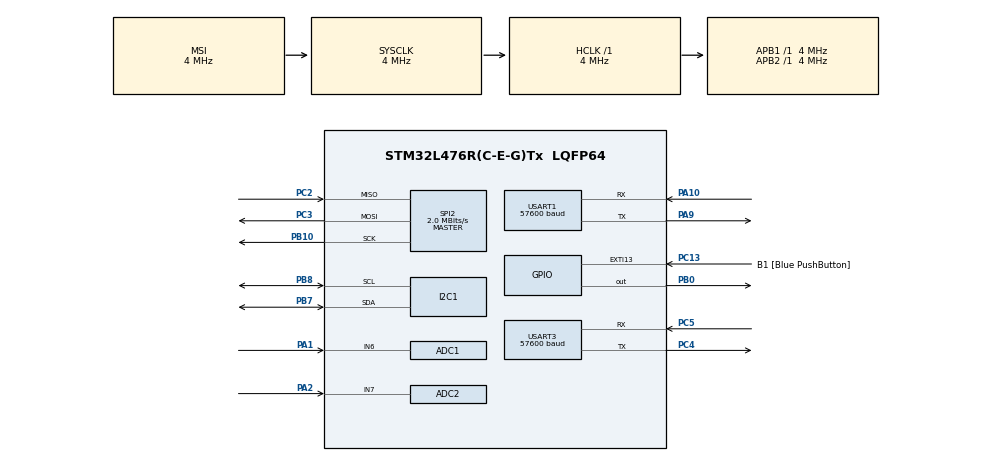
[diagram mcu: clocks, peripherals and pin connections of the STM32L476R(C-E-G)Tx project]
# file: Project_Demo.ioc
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ADC1.Channel-0\#ChannelRegularConversion=ADC_CHANNEL_6
ADC1.ContinuousConvMode=ENABLE
ADC1.NbrOfConversionFlag=1
ADC1.OffsetNumber-0\#ChannelRegularConversion=ADC_OFFSET_NONE
ADC1.Rank-0\#ChannelRegularConversion=1
ADC1.SamplingTime-0\#ChannelRegularConversion=ADC_SAMPLETIME_2CYCLES_5
ADC1.master=1
ADC2.Channel-0\#ChannelRegularConversion=ADC_CHANNEL_7
ADC2.NbrOfConversionFlag=1
ADC2.OffsetNumber-0\#ChannelRegularConversion=ADC_OFFSET_NONE
ADC2.Rank-0\#ChannelRegularConversion=1
ADC2.SamplingTime-0\#ChannelRegularConversion=ADC_SAMPLETIME_2CYCLES_5
I2C1.CustomTiming=Disabled
I2C1.I2C_Fall_Time=20
I2C1.I2C_Rise_Time=20
I2C1.Timing=0x00100D14
Mcu.Family=STM32L4
Mcu.Name=STM32L476R(C-E-G)Tx
Mcu.Package=LQFP64
NVIC.PriorityGroup=NVIC_PRIORITYGROUP_4
NVIC.RTC_Alarm_IRQn=true\:0\:0\:false\:false\:true\:true\:true\:true
NVIC.USART1_IRQn=true\:0\:0\:false\:false\:true\:true\:true\:true
NVIC.USART3_IRQn=true\:0\:0\:false\:false\:true\:true\:true\:true
PA1.Signal=ADCx_IN6
PA10.Mode=Asynchronous
PA10.Signal=USART1_RX
PA13\ (JTMS-SWDIO).GPIO_Label=TMS
PA13\ (JTMS-SWDIO).Mode=Serial_Wire
PA13\ (JTMS-SWDIO).Signal=SYS_JTMS-SWDIO
PA14\ (JTCK-SWCLK).GPIO_Label=TCK
PA14\ (JTCK-SWCLK).Mode=Serial_Wire
PA14\ (JTCK-SWCLK).Signal=SYS_JTCK-SWCLK
PA2.Signal=ADCx_IN7
PA9.Mode=Asynchronous
PA9.Signal=USART1_TX
PB0.Signal=GPIO_Output
PB10.Mode=Full_Duplex_Master
PB10.Signal=SPI2_SCK
PB3\ (JTDO-TRACESWO).GPIO_Label=SWO
PB3\ (JTDO-TRACESWO).Signal=SYS_JTDO-SWO
PB7.GPIO_Pu=GPIO_PULLUP
PB7.Mode=I2C
PB7.Signal=I2C1_SDA
PB8.GPIO_Pu=GPIO_PULLUP
PB8.Mode=I2C
PB8.Signal=I2C1_SCL
PC13.GPIO_Label=B1 [Blue PushButton]
PC13.GPIO_ModeDefaultEXTI=GPIO_MODE_IT_FALLING
PC13.GPIO_PuPd=GPIO_NOPULL
PC13.Signal=GPXTI13
PC14-OSC32_IN\ (PC14).Mode=LSE-External-Oscillator
PC14-OSC32_IN\ (PC14).Signal=RCC_OSC32_IN
PC15-OSC32_OUT\ (PC15).Mode=LSE-External-Oscillator
PC15-OSC32_OUT\ (PC15).Signal=RCC_OSC32_OUT
PC2.Mode=Full_Duplex_Master
PC2.Signal=SPI2_MISO
PC3.Mode=Full_Duplex_Master
PC3.Signal=SPI2_MOSI
PC4.Mode=Asynchronous
PC4.Signal=USART3_TX
PC5.Mode=Asynchronous
PC5.Signal=USART3_RX
PH0-OSC_IN\ (PH0).Signal=RCC_OSC_IN
PH1-OSC_OUT\ (PH1).Signal=RCC_OSC_OUT
ProjectManager.HeapSize=0x200
ProjectManager.StackSize=0x400
ProjectManager.TargetToolchain=STM32CubeIDE
RCC.ADCFreq_Value=64000000
RCC.AHBFreq_Value=4000000
RCC.APB1Freq_Value=4000000
RCC.APB1TimFreq_Value=4000000
RCC.APB2Freq_Value=4000000
RCC.APB2TimFreq_Value=4000000
RCC.CortexFreq_Value=4000000
RCC.HCLKFreq_Value=4000000
RCC.HSE_VALUE=8000000
RCC.HSI_VALUE=16000000
RCC.MSI_VALUE=4000000
RCC.PLLN=10
RCC.PLLSourceVirtual=RCC_PLLSOURCE_HSI
RCC.PREFETCH_ENABLE=1
RCC.SYSCLKFreq_VALUE=4000000
RCC.USBFreq_Value=64000000
RCC.VCOOutputFreq_Value=160000000
RTC.Alarm-Alarm\ A=RTC_ALARM_A
RTC.AlarmMaskDateWeekDay-Alarm\ A=RTC_ALARMMASK_DATEWEEKDAY
RTC.AlarmMaskHours-Alarm\ A=RTC_ALARMMASK_HOURS
RTC.Date=17
RTC.Hours=22
RTC.Hours_A-Alarm\ A=0
RTC.Minutes=59
RTC.Month=RTC_MONTH_FEBRUARY
RTC.Seconds=55
RTC.StoreOperation=RTC_STOREOPERATION_RESET
RTC.WeekDay=RTC_WEEKDAY_SATURDAY
RTC.Year=24
SH.ADCx_IN6.0=ADC1_IN6,IN6-Single-Ended
SH.ADCx_IN7.0=ADC2_IN7,IN7-Single-Ended
SPI2.CalculateBaudRate=2.0 MBits/s
SPI2.DataSize=SPI_DATASIZE_8BIT
SPI2.Direction=SPI_DIRECTION_2LINES
SPI2.Mode=SPI_MODE_MASTER
SPI2.NSSPMode=SPI_NSS_PULSE_DISABLE
SPI2.VirtualType=VM_MASTER
USART1.BaudRate=57600
USART1.VirtualMode-Asynchronous=VM_ASYNC
USART3.BaudRate=57600
USART3.VirtualMode-Asynchronous=VM_ASYNC
VP_RTC_VS_RTC_Activate.Mode=RTC_Enabled
VP_RTC_VS_RTC_Alarm_A_Intern.Mode=Alarm A
VP_RTC_VS_RTC_Calendar.Mode=RTC_Calendar
board=NUCLEO-L476RG

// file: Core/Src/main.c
/* USER CODE BEGIN Header */
/**
  ******************************************************************************
  * @file           : main.c
  * @brief          : Main program body
  ******************************************************************************
  * @attention
  *
  * Copyright (c) 2024 STMicroelectronics.
  * All rights reserved.
  *
  * This software is licensed under terms that can be found in the LICENSE file
  * in the root directory of this software component.
  * If no LICENSE file comes with this software, it is provided AS-IS.
  *
  ******************************************************************************
  */
/* USER CODE END Header */
#include "main.h"

/* USER CODE BEGIN Includes */
#include <string.h>
#include <stdio.h>
#include <stdlib.h>
/* USER CODE END Includes */

/* USER CODE BEGIN PD */
#define APDS9960_I2C_ADDR 0x39 << 1
#define HDC1080_I2C_ADDR 0x40 << 1

/* On/Off definitions */
#define OFF                     0
#define ON                      1

/* Acceptable parameters for setMode */
#define POWER                   0
#define AMBIENT_LIGHT           1
#define PROXIMITY               2
#define WAIT                    3
#define AMBIENT_LIGHT_INT       4
#define PROXIMITY_INT           5
#define GESTURE                 6
#define ALL                     7

/* LED Drive values */
#define LED_DRIVE_100MA         0
#define LED_DRIVE_50MA          1
#define LED_DRIVE_25MA          2
#define LED_DRIVE_12_5MA        3

/* Proximity Gain (PGAIN) values */
#define PGAIN_1X                0
#define PGAIN_2X                1
#define PGAIN_4X                2
#define PGAIN_8X                3

/* ALS Gain (AGAIN) values */
#define AGAIN_1X                0
#define AGAIN_4X                1
#define AGAIN_16X               2
#define AGAIN_64X               3

/* Gesture Gain (GGAIN) values */
#define GGAIN_1X                0
#define GGAIN_2X                1
#define GGAIN_4X                2
#define GGAIN_8X                3

/* LED Boost values */
#define LED_BOOST_100           0
#define LED_BOOST_150           1
#define LED_BOOST_200           2
#define LED_BOOST_300           3

/* Gesture wait time values */
#define GWTIME_0MS              0
#define GWTIME_2_8MS            1
#define GWTIME_5_6MS            2
#define GWTIME_8_4MS            3
#define GWTIME_14_0MS           4
#define GWTIME_22_4MS           5
#define GWTIME_30_8MS           6
#define GWTIME_39_2MS           7

/* Bit fields */
#define PON            0b00000001
#define AEN            0b00000010
#define PEN            0b00000100
#define WEN            0b00001000
#define AIEN           0b00010000
#define PIEN           0b00100000
#define GEN            0b01000000
#define GVALID         0b00000001

/* Status bit fields */
#define AVALID         0b0000001
#define PVALID         0b0000010
#define GINT           0b0000100
#define AINT           0b0010000
#define PGSAT          0b0100000
#define CPSAT          0b1000000

/* APDS-9960 register addresses */
#define ENABLE         0x80
#define ATIME          0x81
#define WTIME          0x83
#define AILTL          0x84
#define AILTH          0x85
#define AIHTL          0x86
#define AIHTH          0x87
#define PILT           0x89
#define PIHT           0x8B
#define PERS           0x8C
#define CONFIG1        0x8D
#define PPULSE         0x8E
#define CONTROL        0x8F
#define CONFIG2        0x90
#define ID             0x92
#define STATUS         0x93
#define CDATAL         0x94
#define CDATAH         0x95
#define RDATAL         0x96
#define RDATAH         0x97
#define GDATAL         0x98
#define GDATAH         0x99
#define BDATAL         0x9A
#define BDATAH         0x9B
#define PDATA          0x9C
#define POFFSET_UR     0x9D
#define POFFSET_DL     0x9E
#define CONFIG3        0x9F
#define GPENTH         0xA0
#define GEXTH          0xA1
#define GCONF1         0xA2
#define GCONF2         0xA3
#define GOFFSET_U      0xA4
#define GOFFSET_D      0xA5
#define GOFFSET_L      0xA7
#define GOFFSET_R      0xA9
#define GPULSE         0xA6
#define GCONF3         0xAA
#define GCONF4         0xAB
#define GFLVL          0xAE
#define GSTATUS        0xAF
#define IFORCE         0xE4
#define PICLEAR        0xE5
#define CICLEAR        0xE6
#define AICLEAR        0xE7
#define GFIFO_U        0xFC
#define GFIFO_D        0xFD
#define GFIFO_L        0xFE
#define GFIFO_R        0xFF

/* Default values */
#define DEFAULT_ATIME           219     // 103ms
#define DEFAULT_WTIME           246     // 27ms
#define DEFAULT_PROX_PPULSE     0x87    // 16us, 8 pulses
#define DEFAULT_GESTURE_PPULSE  0x89    // 16us, 10 pulses
#define DEFAULT_POFFSET_UR      0       // 0 offset
#define DEFAULT_POFFSET_DL      0       // 0 offset
#define DEFAULT_CONFIG1         0x60    // No 12x wait (WTIME) factor
#define DEFAULT_LDRIVE          LED_DRIVE_100MA
#define DEFAULT_PGAIN           PGAIN_4X
#define DEFAULT_AGAIN           AGAIN_4X
#define DEFAULT_PILT            0       // Low proximity threshold
#define DEFAULT_PIHT            50      // High proximity threshold
#define DEFAULT_AILT            0xFFFF  // Force interrupt for calibration
#define DEFAULT_AIHT            0
#define DEFAULT_PERS            0x11    // 2 consecutive prox or ALS for int.
#define DEFAULT_CONFIG2         0x01    // No saturation interrupts or LED boost
#define DEFAULT_CONFIG3         0       // Enable all photodiodes, no SAI
#define DEFAULT_GPENTH          40      // Threshold for entering gesture mode
#define DEFAULT_GEXTH           30      // Threshold for exiting gesture mode
#define DEFAULT_GCONF1          0x40    // 4 gesture events for int., 1 for exit
#define DEFAULT_GGAIN           GGAIN_4X
#define DEFAULT_GLDRIVE         LED_DRIVE_100MA
#define DEFAULT_GWTIME          GWTIME_2_8MS
#define DEFAULT_GOFFSET         0       // No offset scaling for gesture mode
#define DEFAULT_GPULSE          0xC9    // 32us, 10 pulses
#define DEFAULT_GCONF3          0       // All photodiodes active during gesture
#define DEFAULT_GIEN            0       // Disable gesture interrupts

//MEMORY DEFINES
#define MAX_ADDRESS 0x07F000
#define MIN_ADDRESS 0x000000

//HUMIDITY DEFINES
#define TEMPERATURE 0x00
#define HUMIDITY 0x01

/* USER CODE END PD */

ADC_HandleTypeDef hadc1;
ADC_HandleTypeDef hadc2;

I2C_HandleTypeDef hi2c1;

RTC_HandleTypeDef hrtc;

SPI_HandleTypeDef hspi2;

UART_HandleTypeDef huart1;
UART_HandleTypeDef huart3;

void SystemClock_Config(void);
void PeriphCommonClock_Config(void);
static void MX_GPIO_Init(void);
static void MX_I2C1_Init(void);
static void MX_SPI2_Init(void);
static void MX_USART3_UART_Init(void);
static void MX_RTC_Init(void);
static void MX_ADC1_Init(void);
static void MX_ADC2_Init(void);
static void MX_USART1_UART_Init(void);
/* USER CODE BEGIN PFP */
void ADPS_init();
void Ambient_init_();
void writeDataByte(uint8_t reg, uint8_t val);
void readDataByte(uint8_t reg, uint8_t* val);
void setMode(uint8_t mode, uint8_t enable);
uint8_t getMode();
void setLEDDrive(uint8_t drive);
void setProximityGain(uint8_t drive);
void setAmbientLightGain(uint8_t drive);
void setAmbientLightIntEnable(uint8_t enable);
void setProxIntLowThresh(uint8_t threshold);
void setProxIntHighThresh(uint8_t threshold);
void setLightIntLowThresh(uint16_t threshold);
void setLightIntHighThresh (uint16_t threshold);
void enableLightSensor(uint8_t interrupts);
void readAmbientLight(uint16_t *val);
void readRedLight(uint16_t *val);
void readGreenLight(uint16_t *val);
void readBlueLight(uint16_t *val);
void storeData();
void readall();
void getEntryCount();
void readEntry(int pos, UART_HandleTypeDef *huart);
void totalEntries();
void clearMemory();
void getTime();
void deletePage();
void fetchMoisture();
void readTempHum();
void readBattery();
//SETS FOR MEMORY FUNCTIONS

/* USER CODE END PFP */

/* USER CODE BEGIN 0 */
uint16_t ambientLight = 0;
uint8_t tempBits[2];
uint8_t humBits[2];
RTC_DateTypeDef gDate;
RTC_TimeTypeDef gTime;

uint8_t flash_Start_Command = 0x06;
uint8_t flash_Wipe_Command = 0x60;
uint8_t flash_Write_Command = 0x02;
uint8_t flash_Read_Command = 0x03;
uint8_t flash_Read_Register = 0x05;

uint8_t UART_Recieve_Command[10];
uint8_t circleBuffer[5000];
uint8_t UART_Recieve_Buffer[1];
uint8_t SPI_RX[4000] = {0};
int Buffer_Count = 0;

uint32_t end_Address;

uint8_t MSG1[] = "Messages Recieved";
uint8_t tempSend = 0x00;
uint8_t RX_BUFFER[4000];

UART_HandleTypeDef *who;
int channel = 0;
int memory_Position = 0;

uint32_t moisture;
int ratio = 0;
double temp = 0;
double hum = 0;
int batteryLife = 0;

//USE THIS STRUCT AND DEFINITION TO MAKE A DIRECTORY
//EACH OBJECT SHOULD HOLD THE TRUE POSITION IN THE DIRECTORY
//FOR MEMORY REASONS, THE OTHER DIR NUM SHOULD BE USED FOR PUTTING
//ALL THE ENTRIES IN ORDER FOR WHEN WE SEND THOSE VALUES TO THE COMP
int total_Entries = 0;
int cirPos = 0;

int TimeFlag = 0;
int DateFlag = 0;
int hourlyReading = 0;
/* USER CODE END 0 */

int main(void)
{

  /* MCU Configuration--------------------------------------------------------*/

  /* Reset of all peripherals, Initializes the Flash interface and the Systick. */
  HAL_Init();

  /* Configure the system clock */
  SystemClock_Config();

/* Configure the peripherals common clocks */
  PeriphCommonClock_Config();

  /* Initialize all configured peripherals */
  MX_GPIO_Init();
  MX_I2C1_Init();
  MX_SPI2_Init();
  MX_USART3_UART_Init();
  MX_RTC_Init();
  MX_ADC1_Init();
  MX_ADC2_Init();
  MX_USART1_UART_Init();
  /* USER CODE BEGIN 2 */
  HAL_GPIO_WritePin(GPIOB, GPIO_PIN_0,GPIO_PIN_SET);

  HAL_UART_Receive_IT(&huart3, UART_Recieve_Buffer, 1);

  int track = 0;

  int reset = 0;
  ADPS_init();
  enableLightSensor(0);
  getEntryCount();

  char dateTime[9];
  int first,second,third;
  RTC_TimeTypeDef sTime = {0};
  RTC_DateTypeDef sDate = {0};

  /* USER CODE END 2 */

  /* Infinite loop */
  while (1)
  {

    /* USER CODE BEGIN 3 */

	  HAL_Delay(100);
	  if(hourlyReading){
		  hourlyReading = 0;
		  storeData();
	  }
	  UART_Recieve_Command[track] = circleBuffer[cirPos];
	  if(UART_Recieve_Command[track] != 0x00)
		  track++;

	  else{
		  reset++;
		  if(reset >= 100){
				track = 0;
				for(int i = 0; i < 20; i++)
				{
					UART_Recieve_Command[i] = 0x00;
				}
		  }
	  }
	  //DATA AND TIME REGEX CHECKS
	  if(track == 8){
		  for(int i = 0; i < 8; i++){
			  dateTime[i] = UART_Recieve_Command[i];
			  if(dateTime[i] == ':')
				  TimeFlag = 1;
			  else if(dateTime[i] == '/')
				  DateFlag = 1;
		  }
		  dateTime[8] = '/';
		  if(TimeFlag){
			  char *tok;
			  tok = strtok(dateTime,":");
			  first = atoi(tok);
			  tok = strtok(NULL,":");
			  second = atoi(tok);
			  tok = strtok(NULL,"/");
			  third = atoi(tok);
			  sTime.Hours = (first % 10 * 0x01) + ((first / 10) * 0x10);
			  sTime.Minutes = (second % 10 * 0x01) + ((second / 10) * 0x10);
			  sTime.Seconds = (third % 10 * 0x01) + ((third / 10) * 0x10);
			  HAL_RTC_SetTime(&hrtc, &sTime, RTC_FORMAT_BCD);

		  }
		  if(DateFlag){
			  char *tok;
			  tok = strtok(dateTime,"/");
			  first = atoi(tok);
			  tok = strtok(NULL,"/");
			  second = atoi(tok);
			  tok = strtok(NULL,"/");
			  third = atoi(tok);
			  sDate.Month = (first % 10 * 0x01) + ((first / 10) * 0x10);;
			  sDate.Date = (second % 10 * 0x01) + ((second / 10) * 0x10);
			  sDate.Year = (third % 10 * 0x01) + ((third / 10) * 0x10);
			  HAL_RTC_SetDate(&hrtc, &sDate, RTC_FORMAT_BCD);
		  }
		  TimeFlag = 0;
		  DateFlag = 0;
	  }

	  circleBuffer[cirPos] = 0x00;
	  if(cirPos != Buffer_Count)
	  cirPos++;
	  if(cirPos == 4000)
		  cirPos = 0;
	  if(track == 10)
		  track = 0;
	  if(track == 3)
		  track = 3;

	  if(channel == 0){
		  who = &huart3;
	  }
	    if(!strncmp((char*)UART_Recieve_Command, "read", 4)){
	    	storeData();
			track = 0;
			char *MSGNO = "DATA READ";
			for(int i = 0; i < strlen(MSGNO); i++){
				tempSend = MSGNO[i];
				HAL_UART_Transmit(who, &tempSend, sizeof(tempSend), 100);
			}
			tempSend = '\n';
			HAL_UART_Transmit(who, &tempSend, sizeof(tempSend), 100);
			for(int i = 0; i < 20; i++)
			{
				UART_Recieve_Command[i] = 0x00;
			}
	    }
	    else if(!strncmp((char*)UART_Recieve_Command, "last", 4)){
	    	if(total_Entries == 0){
	    		char *MSGNO = "NO ENTRIES";
	    		for(int i = 0; i < strlen(MSGNO); i++){
	    			tempSend = MSGNO[i];
	    			HAL_UART_Transmit(who, &tempSend, sizeof(tempSend), 100);
	    		}
	    	}else{
	    		readEntry(total_Entries, who);
	    	}
	    	tempSend = '\n';
	    	HAL_UART_Transmit(who, &tempSend, sizeof(tempSend), 100);
	    	track = 0;
			for(int i = 0; i < 20; i++)
			{
				UART_Recieve_Command[i] = 0x00;
			}
	    }
	    else if(!strncmp((char*)UART_Recieve_Command, "all", 3)){
	    	if(total_Entries == 0){
	    		char *MSGNO = "NO ENTRIES";
				for(int i = 0; i < strlen(MSGNO); i++){
					tempSend = MSGNO[i];
					HAL_UART_Transmit(who, &tempSend, sizeof(tempSend), 100);
				}
			}else{
				for(int i = 1; i <= total_Entries; i++){
					readEntry(i, who);
					tempSend = '\n';
					HAL_UART_Transmit(who, &tempSend, sizeof(tempSend), 100);
				}

			}

			track = 0;
			for(int i = 0; i < 20; i++)
			{
				UART_Recieve_Command[i] = 0x00;
			}

	    }
	    else if(!strncmp((char*)UART_Recieve_Command , "entries", 7)){
	    	totalEntries();
	    	track = 0;
			for(int i = 0; i < 20; i++)
			{
				UART_Recieve_Command[i] = 0x00;
			}
	    }

	    else if(!strncmp((char*)UART_Recieve_Command, "clear", 5)){
	    		clearMemory();
	    		total_Entries = 0;
				char *MSGNO = "DATA CLEARED";
				for(int i = 0; i < strlen(MSGNO); i++){
					tempSend = MSGNO[i];
					HAL_UART_Transmit(who, &tempSend, sizeof(tempSend), 100);
				}
				tempSend = '\n';
				HAL_UART_Transmit(who, &tempSend, sizeof(tempSend), 100);
				track = 0;
				for(int i = 0; i < 20; i++)
				{
					UART_Recieve_Command[i] = 0x00;
				}
	    	}
	    HAL_PWR_EnterSLEEPMode(PWR_MAINREGULATOR_ON,PWR_SLEEPENTRY_WFI);
  }
  /* USER CODE END 3 */
}

void SystemClock_Config(void)
{
  RCC_OscInitTypeDef RCC_OscInitStruct = {0};
  RCC_ClkInitTypeDef RCC_ClkInitStruct = {0};

  /** Configure the main internal regulator output voltage
  */
  if (HAL_PWREx_ControlVoltageScaling(PWR_REGULATOR_VOLTAGE_SCALE1) != HAL_OK)
  {
    Error_Handler();
  }

  /** Configure LSE Drive Capability
  */
  HAL_PWR_EnableBkUpAccess();
  __HAL_RCC_LSEDRIVE_CONFIG(RCC_LSEDRIVE_LOW);

  /** Initializes the RCC Oscillators according to the specified parameters
  * in the RCC_OscInitTypeDef structure.
  */
  RCC_OscInitStruct.OscillatorType = RCC_OSCILLATORTYPE_HSI|RCC_OSCILLATORTYPE_LSI
                              |RCC_OSCILLATORTYPE_LSE|RCC_OSCILLATORTYPE_MSI;
  RCC_OscInitStruct.LSEState = RCC_LSE_ON;
  RCC_OscInitStruct.HSIState = RCC_HSI_ON;
  RCC_OscInitStruct.HSICalibrationValue = RCC_HSICALIBRATION_DEFAULT;
  RCC_OscInitStruct.LSIState = RCC_LSI_ON;
  RCC_OscInitStruct.MSIState = RCC_MSI_ON;
  RCC_OscInitStruct.MSICalibrationValue = 0;
  RCC_OscInitStruct.MSIClockRange = RCC_MSIRANGE_6;
  RCC_OscInitStruct.PLL.PLLState = RCC_PLL_NONE;
  if (HAL_RCC_OscConfig(&RCC_OscInitStruct) != HAL_OK)
  {
    Error_Handler();
  }

  /** Initializes the CPU, AHB and APB buses clocks
  */
  RCC_ClkInitStruct.ClockType = RCC_CLOCKTYPE_HCLK|RCC_CLOCKTYPE_SYSCLK
                              |RCC_CLOCKTYPE_PCLK1|RCC_CLOCKTYPE_PCLK2;
  RCC_ClkInitStruct.SYSCLKSource = RCC_SYSCLKSOURCE_MSI;
  RCC_ClkInitStruct.AHBCLKDivider = RCC_SYSCLK_DIV1;
  RCC_ClkInitStruct.APB1CLKDivider = RCC_HCLK_DIV1;
  RCC_ClkInitStruct.APB2CLKDivider = RCC_HCLK_DIV1;

  if (HAL_RCC_ClockConfig(&RCC_ClkInitStruct, FLASH_LATENCY_0) != HAL_OK)
  {
    Error_Handler();
  }

  /** Enable MSI Auto calibration
  */
  HAL_RCCEx_EnableMSIPLLMode();
}

void PeriphCommonClock_Config(void)
{
  RCC_PeriphCLKInitTypeDef PeriphClkInit = {0};

  /** Initializes the peripherals clock
  */
  PeriphClkInit.PeriphClockSelection = RCC_PERIPHCLK_ADC;
  PeriphClkInit.AdcClockSelection = RCC_ADCCLKSOURCE_PLLSAI1;
  PeriphClkInit.PLLSAI1.PLLSAI1Source = RCC_PLLSOURCE_HSI;
  PeriphClkInit.PLLSAI1.PLLSAI1M = 1;
  PeriphClkInit.PLLSAI1.PLLSAI1N = 8;
  PeriphClkInit.PLLSAI1.PLLSAI1P = RCC_PLLP_DIV7;
  PeriphClkInit.PLLSAI1.PLLSAI1Q = RCC_PLLQ_DIV2;
  PeriphClkInit.PLLSAI1.PLLSAI1R = RCC_PLLR_DIV2;
  PeriphClkInit.PLLSAI1.PLLSAI1ClockOut = RCC_PLLSAI1_ADC1CLK;
  if (HAL_RCCEx_PeriphCLKConfig(&PeriphClkInit) != HAL_OK)
  {
    Error_Handler();
  }
}

static void MX_ADC1_Init(void)
{

  ADC_MultiModeTypeDef multimode = {0};
  ADC_ChannelConfTypeDef sConfig = {0};

  /** Common config
  */
  hadc1.Instance = ADC1;
  hadc1.Init.ClockPrescaler = ADC_CLOCK_ASYNC_DIV1;
  hadc1.Init.Resolution = ADC_RESOLUTION_12B;
  hadc1.Init.DataAlign = ADC_DATAALIGN_RIGHT;
  hadc1.Init.ScanConvMode = ADC_SCAN_DISABLE;
  hadc1.Init.EOCSelection = ADC_EOC_SINGLE_CONV;
  hadc1.Init.LowPowerAutoWait = DISABLE;
  hadc1.Init.ContinuousConvMode = ENABLE;
  hadc1.Init.NbrOfConversion = 1;
  hadc1.Init.DiscontinuousConvMode = DISABLE;
  hadc1.Init.ExternalTrigConv = ADC_SOFTWARE_START;
  hadc1.Init.ExternalTrigConvEdge = ADC_EXTERNALTRIGCONVEDGE_NONE;
  hadc1.Init.DMAContinuousRequests = DISABLE;
  hadc1.Init.Overrun = ADC_OVR_DATA_PRESERVED;
  hadc1.Init.OversamplingMode = DISABLE;
  if (HAL_ADC_Init(&hadc1) != HAL_OK)
  {
    Error_Handler();
  }

  /** Configure the ADC multi-mode
  */
  multimode.Mode = ADC_MODE_INDEPENDENT;
  if (HAL_ADCEx_MultiModeConfigChannel(&hadc1, &multimode) != HAL_OK)
  {
    Error_Handler();
  }

  /** Configure Regular Channel
  */
  sConfig.Channel = ADC_CHANNEL_6;
  sConfig.Rank = ADC_REGULAR_RANK_1;
  sConfig.SamplingTime = ADC_SAMPLETIME_2CYCLES_5;
  sConfig.SingleDiff = ADC_SINGLE_ENDED;
  sConfig.OffsetNumber = ADC_OFFSET_NONE;
  sConfig.Offset = 0;
  if (HAL_ADC_ConfigChannel(&hadc1, &sConfig) != HAL_OK)
  {
    Error_Handler();
  }

}

static void MX_ADC2_Init(void)
{

  ADC_ChannelConfTypeDef sConfig = {0};

  /** Common config
  */
  hadc2.Instance = ADC2;
  hadc2.Init.ClockPrescaler = ADC_CLOCK_ASYNC_DIV1;
  hadc2.Init.Resolution = ADC_RESOLUTION_12B;
  hadc2.Init.DataAlign = ADC_DATAALIGN_RIGHT;
  hadc2.Init.ScanConvMode = ADC_SCAN_DISABLE;
  hadc2.Init.EOCSelection = ADC_EOC_SINGLE_CONV;
  hadc2.Init.LowPowerAutoWait = DISABLE;
  hadc2.Init.ContinuousConvMode = DISABLE;
  hadc2.Init.NbrOfConversion = 1;
  hadc2.Init.DiscontinuousConvMode = DISABLE;
  hadc2.Init.ExternalTrigConv = ADC_SOFTWARE_START;
  hadc2.Init.ExternalTrigConvEdge = ADC_EXTERNALTRIGCONVEDGE_NONE;
  hadc2.Init.DMAContinuousRequests = DISABLE;
  hadc2.Init.Overrun = ADC_OVR_DATA_PRESERVED;
  hadc2.Init.OversamplingMode = DISABLE;
  if (HAL_ADC_Init(&hadc2) != HAL_OK)
  {
    Error_Handler();
  }

  /** Configure Regular Channel
  */
  sConfig.Channel = ADC_CHANNEL_7;
  sConfig.Rank = ADC_REGULAR_RANK_1;
  sConfig.SamplingTime = ADC_SAMPLETIME_2CYCLES_5;
  sConfig.SingleDiff = ADC_SINGLE_ENDED;
  sConfig.OffsetNumber = ADC_OFFSET_NONE;
  sConfig.Offset = 0;
  if (HAL_ADC_ConfigChannel(&hadc2, &sConfig) != HAL_OK)
  {
    Error_Handler();
  }

}

static void MX_I2C1_Init(void)
{

  hi2c1.Instance = I2C1;
  hi2c1.Init.Timing = 0x00100D14;
  hi2c1.Init.OwnAddress1 = 0;
  hi2c1.Init.AddressingMode = I2C_ADDRESSINGMODE_7BIT;
  hi2c1.Init.DualAddressMode = I2C_DUALADDRESS_DISABLE;
  hi2c1.Init.OwnAddress2 = 0;
  hi2c1.Init.OwnAddress2Masks = I2C_OA2_NOMASK;
  hi2c1.Init.GeneralCallMode = I2C_GENERALCALL_DISABLE;
  hi2c1.Init.NoStretchMode = I2C_NOSTRETCH_DISABLE;
  if (HAL_I2C_Init(&hi2c1) != HAL_OK)
  {
    Error_Handler();
  }

  /** Configure Analogue filter
  */
  if (HAL_I2CEx_ConfigAnalogFilter(&hi2c1, I2C_ANALOGFILTER_ENABLE) != HAL_OK)
  {
    Error_Handler();
  }

  /** Configure Digital filter
  */
  if (HAL_I2CEx_ConfigDigitalFilter(&hi2c1, 0) != HAL_OK)
  {
    Error_Handler();
  }

}

static void MX_RTC_Init(void)
{

  RTC_TimeTypeDef sTime = {0};
  RTC_DateTypeDef sDate = {0};
  RTC_AlarmTypeDef sAlarm = {0};

  /** Initialize RTC Only
  */
  hrtc.Instance = RTC;
  hrtc.Init.HourFormat = RTC_HOURFORMAT_24;
  hrtc.Init.AsynchPrediv = 127;
  hrtc.Init.SynchPrediv = 255;
  hrtc.Init.OutPut = RTC_OUTPUT_DISABLE;
  hrtc.Init.OutPutRemap = RTC_OUTPUT_REMAP_NONE;
  hrtc.Init.OutPutPolarity = RTC_OUTPUT_POLARITY_HIGH;
  hrtc.Init.OutPutType = RTC_OUTPUT_TYPE_OPENDRAIN;
  if (HAL_RTC_Init(&hrtc) != HAL_OK)
  {
    Error_Handler();
  }

  /** Initialize RTC and set the Time and Date
  */
  sTime.Hours = 0x22;
  sTime.Minutes = 0x59;
  sTime.Seconds = 0x55;
  sTime.DayLightSaving = RTC_DAYLIGHTSAVING_NONE;
  sTime.StoreOperation = RTC_STOREOPERATION_RESET;
  if (HAL_RTC_SetTime(&hrtc, &sTime, RTC_FORMAT_BCD) != HAL_OK)
  {
    Error_Handler();
  }
  sDate.WeekDay = RTC_WEEKDAY_SATURDAY;
  sDate.Month = RTC_MONTH_FEBRUARY;
  sDate.Date = 0x17;
  sDate.Year = 0x24;

  if (HAL_RTC_SetDate(&hrtc, &sDate, RTC_FORMAT_BCD) != HAL_OK)
  {
    Error_Handler();
  }

  /** Enable the Alarm A
  */
  sAlarm.AlarmTime.Hours = 0x0;
  sAlarm.AlarmTime.Minutes = 0x0;
  sAlarm.AlarmTime.Seconds = 0x0;
  sAlarm.AlarmTime.SubSeconds = 0x0;
  sAlarm.AlarmTime.DayLightSaving = RTC_DAYLIGHTSAVING_NONE;
  sAlarm.AlarmTime.StoreOperation = RTC_STOREOPERATION_RESET;
  sAlarm.AlarmMask = RTC_ALARMMASK_DATEWEEKDAY|RTC_ALARMMASK_HOURS;
  sAlarm.AlarmSubSecondMask = RTC_ALARMSUBSECONDMASK_ALL;
  sAlarm.AlarmDateWeekDaySel = RTC_ALARMDATEWEEKDAYSEL_DATE;
  sAlarm.AlarmDateWeekDay = 0x1;
  sAlarm.Alarm = RTC_ALARM_A;
  if (HAL_RTC_SetAlarm_IT(&hrtc, &sAlarm, RTC_FORMAT_BCD) != HAL_OK)
  {
    Error_Handler();
  }

}

static void MX_SPI2_Init(void)
{

  /* SPI2 parameter configuration*/
  hspi2.Instance = SPI2;
  hspi2.Init.Mode = SPI_MODE_MASTER;
  hspi2.Init.Direction = SPI_DIRECTION_2LINES;
  hspi2.Init.DataSize = SPI_DATASIZE_8BIT;
  hspi2.Init.CLKPolarity = SPI_POLARITY_LOW;
  hspi2.Init.CLKPhase = SPI_PHASE_1EDGE;
  hspi2.Init.NSS = SPI_NSS_SOFT;
  hspi2.Init.BaudRatePrescaler = SPI_BAUDRATEPRESCALER_2;
  hspi2.Init.FirstBit = SPI_FIRSTBIT_MSB;
  hspi2.Init.TIMode = SPI_TIMODE_DISABLE;
  hspi2.Init.CRCCalculation = SPI_CRCCALCULATION_DISABLE;
  hspi2.Init.CRCPolynomial = 7;
  hspi2.Init.CRCLength = SPI_CRC_LENGTH_DATASIZE;
  hspi2.Init.NSSPMode = SPI_NSS_PULSE_DISABLE;
  if (HAL_SPI_Init(&hspi2) != HAL_OK)
  {
    Error_Handler();
  }

}

static void MX_USART1_UART_Init(void)
{

  huart1.Instance = USART1;
  huart1.Init.BaudRate = 57600;
  huart1.Init.WordLength = UART_WORDLENGTH_8B;
  huart1.Init.StopBits = UART_STOPBITS_1;
  huart1.Init.Parity = UART_PARITY_NONE;
  huart1.Init.Mode = UART_MODE_TX_RX;
  huart1.Init.HwFlowCtl = UART_HWCONTROL_NONE;
  huart1.Init.OverSampling = UART_OVERSAMPLING_16;
  huart1.Init.OneBitSampling = UART_ONE_BIT_SAMPLE_DISABLE;
  huart1.AdvancedInit.AdvFeatureInit = UART_ADVFEATURE_NO_INIT;
  if (HAL_UART_Init(&huart1) != HAL_OK)
  {
    Error_Handler();
  }

}

static void MX_USART3_UART_Init(void)
{

  huart3.Instance = USART3;
  huart3.Init.BaudRate = 57600;
  huart3.Init.WordLength = UART_WORDLENGTH_8B;
  huart3.Init.StopBits = UART_STOPBITS_1;
  huart3.Init.Parity = UART_PARITY_NONE;
  huart3.Init.Mode = UART_MODE_TX_RX;
  huart3.Init.HwFlowCtl = UART_HWCONTROL_NONE;
  huart3.Init.OverSampling = UART_OVERSAMPLING_16;
  huart3.Init.OneBitSampling = UART_ONE_BIT_SAMPLE_DISABLE;
  huart3.AdvancedInit.AdvFeatureInit = UART_ADVFEATURE_NO_INIT;
  if (HAL_UART_Init(&huart3) != HAL_OK)
  {
    Error_Handler();
  }

}

static void MX_GPIO_Init(void)
{
  GPIO_InitTypeDef GPIO_InitStruct = {0};

  /* GPIO Ports Clock Enable */
  __HAL_RCC_GPIOC_CLK_ENABLE();
  __HAL_RCC_GPIOH_CLK_ENABLE();
  __HAL_RCC_GPIOA_CLK_ENABLE();
  __HAL_RCC_GPIOB_CLK_ENABLE();

  /*Configure GPIO pin Output Level */
  HAL_GPIO_WritePin(GPIOB, GPIO_PIN_0, GPIO_PIN_RESET);

  /*Configure GPIO pin : B1_Pin */
  GPIO_InitStruct.Pin = B1_Pin;
  GPIO_InitStruct.Mode = GPIO_MODE_IT_FALLING;
  GPIO_InitStruct.Pull = GPIO_NOPULL;
  HAL_GPIO_Init(B1_GPIO_Port, &GPIO_InitStruct);

  /*Configure GPIO pin : PB0 */
  GPIO_InitStruct.Pin = GPIO_PIN_0;
  GPIO_InitStruct.Mode = GPIO_MODE_OUTPUT_PP;
  GPIO_InitStruct.Pull = GPIO_NOPULL;
  GPIO_InitStruct.Speed = GPIO_SPEED_FREQ_LOW;
  HAL_GPIO_Init(GPIOB, &GPIO_InitStruct);

}

/* USER CODE BEGIN 4 */
void writeDataByte(uint8_t reg, uint8_t val){
	uint8_t send[2];
	send[0] = reg;
	send[1] = val;
	HAL_I2C_Master_Transmit(&hi2c1,(uint16_t)APDS9960_I2C_ADDR, send,sizeof(send), 1000);
	//HAL_Delay(100);
}
void readDataByte(uint8_t reg, uint8_t* val){
	HAL_I2C_Master_Transmit(&hi2c1,(uint16_t)APDS9960_I2C_ADDR, &reg,sizeof(reg), 1000);

	HAL_I2C_Master_Receive(&hi2c1,(uint16_t)APDS9960_I2C_ADDR, val,1, 1000);
	//HAL_Delay(100);
}
void setMode(uint8_t mode, uint8_t enable){
	uint8_t reg_val;

	reg_val = getMode();

	enable = enable & 0x01;
	if(mode >= 0 && mode <= 6){
		if(enable){
			reg_val |= (1 << mode);
		}else {
			reg_val &= ~(1 << mode);
		}
	} else if( mode == ALL){
		if(enable){
			reg_val = 0x7F;
		} else {
			reg_val = 0x00;
		}
	}

	writeDataByte(ENABLE, reg_val);
}
uint8_t getMode(){
	uint8_t enable_value;

	readDataByte(ENABLE, &enable_value);
	return enable_value;
}
void ADPS_init(){
	setMode(ALL, OFF);
	writeDataByte(ATIME, DEFAULT_ATIME);
	writeDataByte(WTIME,DEFAULT_WTIME);
	writeDataByte(PPULSE, DEFAULT_PROX_PPULSE);
	writeDataByte(POFFSET_UR, DEFAULT_POFFSET_UR);
	writeDataByte(POFFSET_DL, DEFAULT_POFFSET_DL);
	writeDataByte(CONFIG1, DEFAULT_CONFIG1);
	setLEDDrive(DEFAULT_LDRIVE);
	setProximityGain(DEFAULT_PGAIN);
	setAmbientLightGain(DEFAULT_AGAIN);
	setProxIntLowThresh(DEFAULT_PILT);
	setProxIntHighThresh(DEFAULT_PIHT);
	setLightIntLowThresh(DEFAULT_AILT);
	setLightIntHighThresh(DEFAULT_AIHT);
	writeDataByte(PERS, DEFAULT_PERS);
	writeDataByte(CONFIG2, DEFAULT_CONFIG2);
	writeDataByte(CONFIG3, DEFAULT_CONFIG3);
}
void setLEDDrive(uint8_t drive){
	uint8_t val;

	readDataByte(CONTROL, &val);

	drive &= 0b00000011;
	drive = drive << 6;
	val &= 0b00111111;
	val |= drive;

	writeDataByte(CONTROL, val);
}
void setAmbientLightIntEnable(uint8_t enable){
	uint8_t val;

	readDataByte(ENABLE, &val);

	enable &= 0b00000001;
	enable = enable << 4;
	val &= 0b11101111;
	val |= enable;

	writeDataByte(ENABLE, val);
}
void setProximityGain(uint8_t drive){
	uint8_t val;

	readDataByte(CONTROL, &val);

	drive &= 0b00000011;
	drive = drive << 2;
	val &= 0b00111111;
	val |= drive;

	writeDataByte(CONTROL, val);
}
void setAmbientLightGain(uint8_t drive){
	uint8_t val;

	readDataByte(CONTROL, &val);

	drive &= 0b00000011;
	val &= 0b00111111;
	val |= drive;

	writeDataByte(CONTROL, val);
}
void setProxIntLowThresh(uint8_t threshold){
	writeDataByte(PILT, threshold);
}
void setProxIntHighThresh(uint8_t threshold){
	writeDataByte(PIHT, threshold);
}
void setLightIntLowThresh(uint16_t threshold){
	uint8_t val_low;
	uint8_t val_high;

	val_low = threshold & 0x00FF;
	val_high = (threshold & 0xFF00) >> 8;

	writeDataByte(AILTL, val_low);
	writeDataByte(AILTH, val_high);
}
void setLightIntHighThresh (uint16_t threshold){
	uint8_t val_low;
	uint8_t val_high;

	val_low = threshold & 0x00FF;
	val_high = (threshold & 0xFF00) >> 8;

	writeDataByte(AIHTL, val_low);
	writeDataByte(AIHTH, val_high);
}

void enableLightSensor(uint8_t interrupts){

	setAmbientLightGain(DEFAULT_AGAIN);
	if(interrupts){
		setAmbientLightIntEnable(1);
	}else {
		setAmbientLightIntEnable(0);
	}
	setMode(POWER,1);
	setMode(AMBIENT_LIGHT, 1);
}
void readAmbientLight(uint16_t *val){
	uint8_t val_bytes;
	*val = 0;

	readDataByte(CDATAL, &val_bytes);
	*val = val_bytes;

	readDataByte(CDATAH, &val_bytes);
	*val = *val + ((uint16_t)val_bytes << 8);
}
void readRedLight(uint16_t *val){
	uint8_t val_bytes;
	*val = 0;

	readDataByte(RDATAL, &val_bytes);
	*val = val_bytes;

	readDataByte(RDATAH, &val_bytes);
	*val = *val + ((uint16_t)val_bytes << 8);
}
void readGreenLight(uint16_t *val){
	uint8_t val_bytes;
	*val = 0;

	readDataByte(GDATAL, &val_bytes);
	*val = val_bytes;

	readDataByte(GDATAH, &val_bytes);
	*val = *val + ((uint16_t)val_bytes << 8);
}
void readBlueLight(uint16_t *val){
	uint8_t val_bytes;
	*val = 0;

	readDataByte(BDATAL, &val_bytes);
	*val = val_bytes;

	readDataByte(BDATAH, &val_bytes);
	*val = *val + ((uint16_t)val_bytes << 8);
}
void storeData(){
	//Do all the read functions then store that data into memory
	uint8_t Write_Enable = 0x06;
	uint8_t Page_Program = 0x02;
	char storage[256];
	uint8_t SPI_storage[256];
	tempSend = 0x00;
	uint8_t tx[4];
	uint32_t address;

	readall();

	for(int i = 0; i < 256; i++)
		SPI_storage[i] = '\0';

	sprintf(storage, "DATE:%02d-%02d-%02d\nTIME:%02d:%02d:%02d\nAMBIENT LIGHT(0-4000): %u\nTEMPERATURE: %0.2lfF\nHUMIDITY: %d%%\nSOIL MOISTURE(0-100): %d\nBATTERY: %d%%\n",gDate.Month,gDate.Date,gDate.Year, gTime.Hours, gTime.Minutes, gTime.Seconds, (unsigned int)ambientLight, temp, (int)hum, ratio, batteryLife);
	for (int i = 0; i < strlen(storage); i++){
		SPI_storage[i] = storage[i];
	}

	//Clear the page being written too this keeps the circular buffer alive
	deletePage();

	//ENABLE WRITE
	HAL_GPIO_WritePin(GPIOB, GPIO_PIN_0,GPIO_PIN_RESET);
	for (int i = 0; i < 10; i++);
	HAL_SPI_Transmit(&hspi2, &Write_Enable, sizeof(Write_Enable), 1000);
	HAL_GPIO_WritePin(GPIOB, GPIO_PIN_0,GPIO_PIN_SET);
	for (int i = 0; i < 10; i++);

	//START CS PIN
	HAL_GPIO_WritePin(GPIOB, GPIO_PIN_0,GPIO_PIN_RESET);
	for (int i = 0; i < 10; i++);

	//TRANSMIT ADDRESS WITH FIRST COMMAND
	address = 0x100 * total_Entries;
	tx[0] = Page_Program;
	tx[1] = (address & 0x00FF0000) >> 16;
	tx[2] = (address & 0x0000FF00) >> 8;
	tx[3] = (address & 0x000000FF);

	HAL_SPI_Transmit(&hspi2,tx, 4, 100);

	//TRANSMIT BUFFER MAX SIZE 256 BYTES
	HAL_SPI_Transmit(&hspi2,SPI_storage, sizeof(SPI_storage), 1000);

	HAL_GPIO_WritePin(GPIOB, GPIO_PIN_0,GPIO_PIN_SET);
	for (int i = 0; i < 10; i++);
	total_Entries++;
	//This is 2 months of data saves at 1 hour intervals
	if(total_Entries == 1600){
		total_Entries = 0;
		clearMemory();
		total_Entries = 0;
	}

}
void readall(){
	//call all the read functions
	readAmbientLight(&ambientLight);
	getTime();
	fetchMoisture();
	readTempHum();
	readBattery();
}
void getEntryCount(){
	total_Entries = 0;
	uint8_t Read_Data = 0x03;
	uint8_t tx[4];
	uint32_t Address = 0;
	uint8_t check_bytes[256];

	for(int i = 0; i < 256; i++){
		check_bytes[i] = 0x00;
	}
	do{
		Address = 0x100 * total_Entries;
		HAL_GPIO_WritePin(GPIOB, GPIO_PIN_0,GPIO_PIN_RESET);
		for (int j = 0; j < 10; j++);

		//SEND COMMAND AND ADDRESSING
		tx[0] = Read_Data;
		tx[1] = (Address & 0x00FF0000) >> 16;
		tx[2] = (Address & 0x0000FF00) >> 8;
		tx[3] = (Address & 0x000000FF);
		HAL_SPI_Transmit(&hspi2,tx, 4, 100);

		HAL_SPI_Receive(&hspi2, check_bytes, sizeof(check_bytes) , 2000);

		HAL_GPIO_WritePin(GPIOB, GPIO_PIN_0,GPIO_PIN_SET);
		for (int j = 0; j < 10; j++);

		if((check_bytes[0] != 0x00) && (check_bytes[0] != 0xFF)){
			total_Entries++;
		}
	}while(check_bytes[0] != 0xFF && check_bytes[0] != 0x00);
}
void readEntry(int pos, UART_HandleTypeDef *huart){
	uint32_t Address = (pos - 1) * 0x0000100;
	uint8_t Read_Data = 0x03;
	uint8_t read_buff[256];
	uint8_t tx[4];
	uint8_t tempSend = 0x00;
	char *MSG = "EMPTY\n";

	for(int i = 0; i < 256; i++)
			read_buff[i] = '\0';

	//ENABLE CS PIN
	HAL_GPIO_WritePin(GPIOB, GPIO_PIN_0,GPIO_PIN_RESET);
	for (int i = 0; i < 10; i++);

	//SEND COMMAND AND ADDRESSING
	tx[0] = Read_Data;
	tx[1] = (Address & 0x00FF0000) >> 16;
	tx[2] = (Address & 0x0000FF00) >> 8;
	tx[3] = (Address & 0x000000FF);
	HAL_SPI_Transmit(&hspi2,tx, 4, 100);

	HAL_SPI_Receive(&hspi2, read_buff, sizeof(read_buff) , 2000);

	//END SPI READ
	HAL_GPIO_WritePin(GPIOB, GPIO_PIN_0,GPIO_PIN_SET);
	for (int i = 0; i < 10; i++);

	//SEND VALUES TO COMP VIA USART
	if((read_buff[0] == 0xFF) || (read_buff[0] == 0x00)){
		for(int i = 0; i <= sizeof(MSG); i++){
			tempSend = MSG[i];
			if((tempSend != 0x00) && (tempSend != 0xFF))
				HAL_UART_Transmit(huart, &tempSend, sizeof(tempSend), 1000);
			tempSend = 0x00;
		}
	}
	else{
		for(int j = 0; j < 256; j++){
				tempSend = read_buff[j];
				if((read_buff[j] != 0x00) && (read_buff[j] != 0xFF)){
					HAL_UART_Transmit(huart, &read_buff[j], 1, 100);
					HAL_Delay(5);
				}
			}
	}

}
void totalEntries(){
	tempSend = total_Entries;
	char sendStuff[50];
	sprintf(sendStuff, "%d TOTAL DATA ENTRIES\n",tempSend);
	for(int i = 0; i < strlen(sendStuff); i++){
		tempSend = sendStuff[i];
		HAL_UART_Transmit(who, &tempSend, sizeof(tempSend), 100);
	}
}
void clearMemory(){
	//LATCH CS PIN
    uint8_t Erase_Chip = 0x60;
    uint8_t Write_Enable = 0x06;

    //WEL BIT ENABLED
	HAL_GPIO_WritePin(GPIOB, GPIO_PIN_0,GPIO_PIN_RESET);
	for (int i = 0; i < 10; i++);
	HAL_SPI_Transmit(&hspi2, &Write_Enable, sizeof(Write_Enable), 100);
	HAL_GPIO_WritePin(GPIOB, GPIO_PIN_0,GPIO_PIN_SET);
	for (int i = 0; i < 10; i++);

	//SEND CLEAR CHIP SIGNAL
    HAL_GPIO_WritePin(GPIOB,GPIO_PIN_0,RESET);     // CS to low
	for (int i = 0; i < 10; i++);
    HAL_SPI_Transmit(&hspi2,&Erase_Chip,sizeof(Erase_Chip),100);   // Erase Chip Command
    HAL_GPIO_WritePin(GPIOB,GPIO_PIN_0,SET);       // CS to high
	for (int i = 0; i < 1000; i++);
	//RELEASE CS PIN
}
void getTime(){
	HAL_RTC_GetTime(&hrtc, &gTime, RTC_FORMAT_BIN);
	HAL_RTC_GetDate(&hrtc, &gDate, RTC_FORMAT_BIN);
}
void deletePage(){
	uint8_t Write_Enable = 0x06;
	uint8_t Page_Erase = 0x81;
	uint8_t tx[4];
	uint32_t Address = total_Entries * 0x0000100;

	HAL_GPIO_WritePin(GPIOB, GPIO_PIN_0,GPIO_PIN_RESET);
	for (int i = 0; i < 10; i++);
	HAL_SPI_Transmit(&hspi2, &Write_Enable, sizeof(Write_Enable), 1000);
	HAL_GPIO_WritePin(GPIOB, GPIO_PIN_0,GPIO_PIN_SET);
	for (int i = 0; i < 10; i++);

	//START CS PIN
	HAL_GPIO_WritePin(GPIOB, GPIO_PIN_0,GPIO_PIN_RESET);
	for (int i = 0; i < 10; i++);

	//TRANSMIT ADDRESS WITH FIRST COMMAND
	tx[0] = Page_Erase;
	tx[1] = (Address & 0x00FF0000) >> 16;
	tx[2] = (Address & 0x0000FF00) >> 8;
	tx[3] = (Address & 0x000000FF);

	HAL_SPI_Transmit(&hspi2,tx, 4, 100);

	HAL_GPIO_WritePin(GPIOB, GPIO_PIN_0,GPIO_PIN_SET);
	for (int i = 0; i < 10; i++);
	//spam swap until 128
}
void fetchMoisture(){
	double temp;
	HAL_ADC_Start(&hadc1);
	HAL_ADC_PollForConversion(&hadc1, HAL_MAX_DELAY);
	moisture = HAL_ADC_GetValue(&hadc1);
	temp = ((((double)moisture - 2700.0)/ 1300.0) * 100.0);
	ratio = 100 - temp;
}
void readBattery(){
	double works;
	HAL_ADC_Start(&hadc2);
	HAL_ADC_PollForConversion(&hadc2, HAL_MAX_DELAY);
	works = HAL_ADC_GetValue(&hadc2);
	batteryLife = (works / 1300.0) * 100;

}
void readTempHum(){
	uint8_t data[4];
	uint8_t reg[2];
	uint16_t tempConversion = 0, humConversion = 0;

	//init for reading humidity and temp in one transaction
	reg[0] = 0x02;
	reg[1] = 0x10;
	HAL_I2C_Master_Transmit(&hi2c1,(uint16_t)HDC1080_I2C_ADDR, reg,sizeof(reg), 1000);
	HAL_I2C_Master_Receive(&hi2c1,(uint16_t)HDC1080_I2C_ADDR, tempBits, 2, 1000);

	uint8_t ref = 0x00;
	HAL_I2C_Master_Transmit(&hi2c1,(uint16_t)HDC1080_I2C_ADDR, &ref,sizeof(ref), 1000);

	for(int i = 0; i < 30000; i++);

	HAL_I2C_Master_Receive(&hi2c1,(uint16_t)HDC1080_I2C_ADDR, data, 4, 1000);

	tempConversion = tempConversion << 8 | data[0];
	tempConversion = tempConversion << 8 | data[1];
	humConversion = humConversion << 8 | data[2];
	humConversion = humConversion << 8 | data[3];

	temp = (((tempConversion) / 65536.0) * 165.0) - 40.0;
	hum = (((humConversion) / 65536.0) * 100.0);

	//temp C to F
	temp = (temp  * 9.0/5.0) + 32;

}
void HAL_UART_RxCpltCallback(UART_HandleTypeDef *huart){
	circleBuffer[Buffer_Count++] = UART_Recieve_Buffer[0];

	if(Buffer_Count == 4000)
		Buffer_Count = 0;
}

/* USER CODE END 4 */

void Error_Handler(void)
{
  __disable_irq();
  while (1)
  {
  }
}
